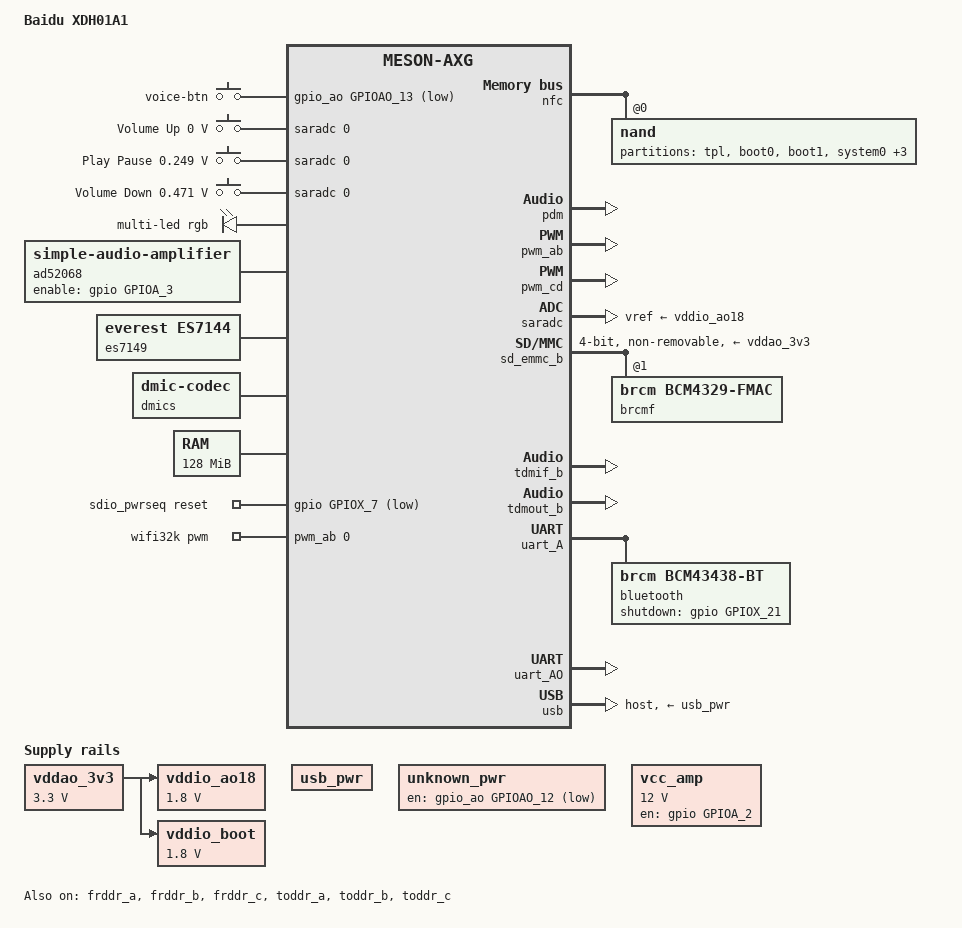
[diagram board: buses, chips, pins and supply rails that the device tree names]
// SPDX-License-Identifier: (GPL-2.0+ OR MIT)
/*
 * Copyright (c) 2025 retro98boy <retro98boy@qq.com>
 */

/dts-v1/;

#include "meson-axg.dtsi"
#include <dt-bindings/input/input.h>
#include <dt-bindings/leds/common.h>

/ {
	compatible = "baidu,xdh01a1", "amlogic,a113x", "amlogic,meson-axg";
	model = "Baidu XDH01A1";

	aliases {
		serial0 = &uart_AO;
		serial1 = &uart_A;
	};

	gpio-keys-polled {
		compatible = "gpio-keys-polled";
		poll-interval = <100>;

		voice-btn {
			label = "voice-btn";
			linux,code = <KEY_VOICECOMMAND>;
			gpios = <&gpio_ao GPIOAO_13 GPIO_ACTIVE_LOW>;
		};
	};

	adc-keys {
		compatible = "adc-keys";
		io-channels = <&saradc 0>;
		io-channel-names = "buttons";
		keyup-threshold-microvolt = <1000000>;

		button-up {
			label = "Volume Up";
			linux,code = <KEY_VOLUMEUP>;
			press-threshold-microvolt = <0>;
		};

		button-pause {
			label = "Play Pause";
			linux,code = <KEY_PLAYPAUSE>;
			press-threshold-microvolt = <248791>;
		};

		button-down {
			label = "Volume Down";
			linux,code = <KEY_VOLUMEDOWN>;
			press-threshold-microvolt = <471208>;
		};
	};

	pwm-leds {
		compatible = "pwm-leds-multicolor";

		multi-led {
			color = <LED_COLOR_ID_RGB>;
			max-brightness = <255>;

			led-red {
				color = <LED_COLOR_ID_RED>;
				pwms = <&pwm_cd 0 1000000 0>;
			};

			led-green {
				color = <LED_COLOR_ID_GREEN>;
				pwms = <&pwm_cd 1 1000000 0>;
			};

			led-blue {
				color = <LED_COLOR_ID_BLUE>;
				pwms = <&pwm_ab 1 1000000 0>;
			};
		};
	};

	ad52068: amplifier {
		compatible = "simple-audio-amplifier";
		enable-gpios = <&gpio GPIOA_3 GPIO_ACTIVE_HIGH>;
		/*
		 * Ensure that the /SD pin of the AD52068 is pulled high after a certain delay following the audio output.
		 * Without this delay, the device will shut down the moment the audio plays,
		 * accompanied by a clicking sound from the speaker.
		 */
		enable-delay-ms = <100>;
		sound-name-prefix = "Amplifier";
	};

	es7149: codec {
		#sound-dai-cells = <0>;
		compatible = "everest,es7144";
		sound-name-prefix = "Codec";
	};

	dmics: dmics {
		#sound-dai-cells = <0>;
		compatible = "dmic-codec";
		num-channels = <3>;
		wakeup-delay-ms = <50>;
		sound-name-prefix = "MIC";
	};

	chosen {
		stdout-path = "serial0:115200n8";
		kaslr-seed = <0xfeedbeef 0xc0def00d>;
	};

	memory@0 {
		device_type = "memory";
		reg = <0x0 0x0 0x0 0x08000000>;
	};

	vddao_3v3: regulator-vddao-3v3 {
		compatible = "regulator-fixed";
		regulator-name = "VDDAO_3V3";
		regulator-min-microvolt = <3300000>;
		regulator-max-microvolt = <3300000>;
		regulator-always-on;
	};

	vddio_ao18: regulator-vddio-ao18 {
		compatible = "regulator-fixed";
		regulator-name = "VDDIO_AO18";
		regulator-min-microvolt = <1800000>;
		regulator-max-microvolt = <1800000>;
		vin-supply = <&vddao_3v3>;
		regulator-always-on;
	};

	vddio_boot: regulator-vddio-boot {
		compatible = "regulator-fixed";
		regulator-name = "VDDIO_BOOT";
		regulator-min-microvolt = <1800000>;
		regulator-max-microvolt = <1800000>;
		vin-supply = <&vddao_3v3>;
		regulator-always-on;
	};

	usb_pwr: regulator-usb-pwr {
		compatible = "regulator-fixed";
		regulator-name = "usb_pwr";
	};

	/* This regulator is needed by vcc_amp and the AD52068 /SD pin. */
	unknown_pwr: regulator-unknown-pwr {
		compatible = "regulator-fixed";
		regulator-name = "unknown_pwr";
		enable-active-low;
		gpio = <&gpio_ao GPIOAO_12 GPIO_ACTIVE_LOW>;
		regulator-always-on;
		regulator-boot-on;
	};

	/* Ensure that it is enabled immediately upon power-up. */
	vcc_amp: regulator-vcc-amp {
		compatible = "regulator-fixed";
		regulator-name = "vcc_amp";
		regulator-min-microvolt = <12000000>;
		regulator-max-microvolt = <12000000>;
		enable-active-high;
		gpio = <&gpio GPIOA_2 GPIO_ACTIVE_HIGH>;
		regulator-always-on;
		regulator-boot-on;
	};

	sdio_pwrseq: sdio-pwrseq {
		compatible = "mmc-pwrseq-simple";
		reset-gpios = <&gpio GPIOX_7 GPIO_ACTIVE_LOW>;
		clocks = <&wifi32k>;
		clock-names = "ext_clock";
	};

	sound {
		compatible = "amlogic,axg-sound-card";
		model = "baidu-xdh01a1";
		audio-aux-devs = <&tdmout_b>, <&ad52068>;
		audio-widgets = "Speaker", "Mono Speaker";
		audio-routing = "TDMOUT_B IN 0", "FRDDR_A OUT 1",
				"TDMOUT_B IN 1", "FRDDR_B OUT 1",
				"TDMOUT_B IN 2", "FRDDR_C OUT 1",
				"TDM_B Playback", "TDMOUT_B OUT",
				"TODDR_A IN 4", "PDM Capture",
				"TODDR_B IN 4", "PDM Capture",
				"TODDR_C IN 4", "PDM Capture",
				"Amplifier INL", "Codec AOUTL",
				"Amplifier INR", "Codec AOUTR",
				"Mono Speaker", "Amplifier OUTL",
				"Mono Speaker", "Amplifier OUTR";
		clocks = <&clkc CLKID_HIFI_PLL>,
			 <&clkc CLKID_MPLL0>,
			 <&clkc CLKID_MPLL1>;

		assigned-clocks = <&clkc CLKID_HIFI_PLL>,
				  <&clkc CLKID_MPLL0>,
				  <&clkc CLKID_MPLL1>;
		assigned-clock-parents = <0>, <0>, <0>;
		assigned-clock-rates = <589824000>,
				       <270950400>,
				       <393216000>;

		dai-link-0 {
			sound-dai = <&frddr_a>;
		};

		dai-link-1 {
			sound-dai = <&frddr_b>;
		};

		dai-link-2 {
			sound-dai = <&frddr_c>;
		};

		dai-link-3 {
			sound-dai = <&toddr_a>;
		};

		dai-link-4 {
			sound-dai = <&toddr_b>;
		};

		dai-link-5 {
			sound-dai = <&toddr_c>;
		};

		dai-link-6 {
			sound-dai = <&tdmif_b>;
			dai-format = "i2s";
			dai-tdm-slot-tx-mask-0 = <1 1>;
			mclk-fs = <256>;

			codec {
				sound-dai = <&es7149>;
			};
		};

		dai-link-7 {
			sound-dai = <&pdm>;

			codec {
				sound-dai = <&dmics>;
			};
		};
	};

	wifi32k: wifi32k {
		compatible = "pwm-clock";
		#clock-cells = <0>;
		clock-frequency = <32768>;
		pwms = <&pwm_ab 0 30518 0>; /* PWM_A at 32.768KHz */
	};
};

&frddr_a {
	status = "okay";
};

&frddr_b {
	status = "okay";
};

&frddr_c {
	status = "okay";
};

&nfc {
	status = "okay";
	#address-cells = <1>;
	#size-cells = <0>;

	nand@0 {
		reg = <0>;
		#address-cells = <1>;
		#size-cells = <1>;

		nand-is-boot-medium;
		amlogic,boot-pages = <1024>; /* not sure */
		amlogic,boot-page-step = <2>; /* not sure */

		nand-ecc-mode = "hw";
		/*
		 * Only setting it to 512 instead of 1024
		 * allows normal access to the vendor's original block data.
		 */
		nand-ecc-step-size = <512>;
		nand-ecc-strength = <8>;
		/*
		nand-on-flash-bbt;
		nand-bbt-offset = <0x240000>;
		nand-bbt-size = <0x400>;
		*/

		/*
		partition@0 {
			label = "bootloader";
			reg = <0x00000000 0x00200000>;
		};
		*/

		partition@440000 {
			label = "tpl";
			reg = <0x00440000 0x00200000>;
		};

		partition@640000 {
			label = "boot0";
			reg = <0x00640000 0x00400000>;
		};

		partition@a40000 {
			label = "boot1";
			reg = <0x00a40000 0x00400000>;
		};

		partition@e40000 {
			label = "system0";
			reg = <0x00e40000 0x01400000>;
		};

		partition@2240000 {
			label = "system1";
			reg = <0x02240000 0x01400000>;
		};

		partition@3640000 {
			label = "opt";
			reg = <0x03640000 0x03600000>;
		};

		partition@6c40000 {
			label = "data";
			reg = <0x06c40000 0x013c0000>;
		};
	};
};

&pdm {
	pinctrl-0 = <&pdm_dclk_a14_pins>, <&pdm_din0_pins>,
		    <&pdm_din1_pins>, <&pdm_din2_pins>, <&pdm_din3_pins>;
	pinctrl-names = "default";
	status = "okay";
};

&pwm_ab {
	status = "okay";
	pinctrl-0 = <&pwm_a_x20_pins>, <&pwm_b_x_pins>;
	pinctrl-names = "default";
};

&pwm_cd {
	status = "okay";
	pinctrl-0 = <&pwm_c_x17_pins>, <&pwm_d_x16_pins>;
	pinctrl-names = "default";
};

&saradc {
	status = "okay";
	vref-supply = <&vddio_ao18>;
};

&sd_emmc_b {
	status = "okay";
	#address-cells = <1>;
	#size-cells = <0>;

	pinctrl-0 = <&sdio_pins>;
	pinctrl-1 = <&sdio_clk_gate_pins>;
	pinctrl-names = "default", "clk-gate";

	bus-width = <4>;
	cap-sd-highspeed;
	sd-uhs-sdr104;
	max-frequency = <200000000>;
	non-removable;
	disable-wp;

	mmc-pwrseq = <&sdio_pwrseq>;

	vmmc-supply = <&vddao_3v3>;
	vqmmc-supply = <&vddio_boot>;

	brcmf: wifi@1 {
		reg = <1>;
		compatible = "brcm,bcm4329-fmac";
	};
};

&tdmif_b {
	pinctrl-0 = <&tdmb_sclk_pins>, <&tdmb_fs_pins>,
		    <&tdmb_dout0_pins>, <&mclk_b_pins>;
	pinctrl-names = "default";
	status = "okay";
};

&tdmout_b {
	status = "okay";
};

&toddr_a {
	status = "okay";
};

&toddr_b {
	status = "okay";
};

&toddr_c {
	status = "okay";
};

&uart_A {
	status = "okay";
	pinctrl-0 = <&uart_a_pins>, <&uart_a_cts_rts_pins>;
	pinctrl-names = "default";
	uart-has-rtscts;

	bluetooth {
		compatible = "brcm,bcm43438-bt";
		shutdown-gpios = <&gpio GPIOX_21 GPIO_ACTIVE_HIGH>;
	};
};

&uart_AO {
	status = "okay";
	pinctrl-0 = <&uart_ao_a_pins>;
	pinctrl-names = "default";
};

&usb {
	status = "okay";
	dr_mode = "host";
	vbus-supply = <&usb_pwr>;
};
